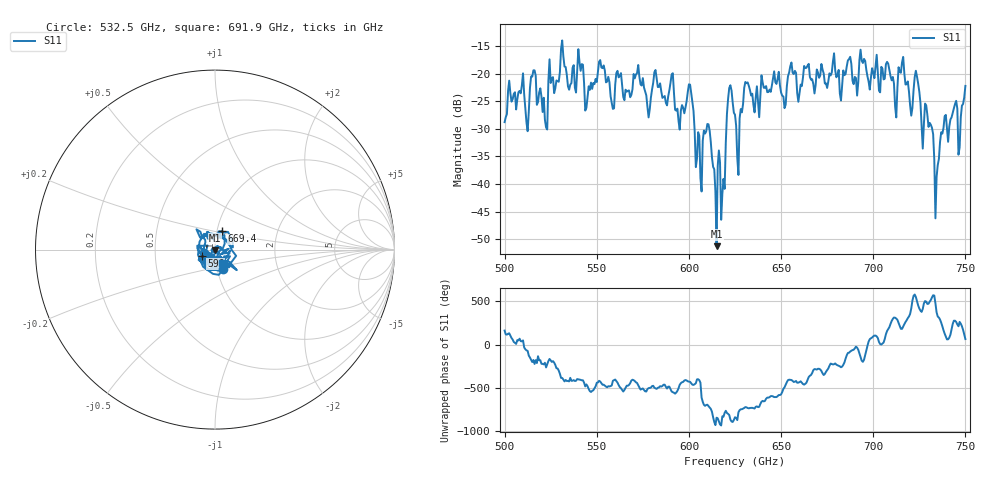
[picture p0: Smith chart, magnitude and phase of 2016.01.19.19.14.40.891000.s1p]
!Created with skrf (http://scikit-rf.org).
# GHz S RI R 50.0
!freq ReS11 ImS11
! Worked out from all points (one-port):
!   401 points, 500 GHz to 750 GHz, reference 50 ohm
!   lowest |S11| = -51.2 dB at 615 GHz (marker M1), VSWR 1.01, Z = 49.8 - j0.216 ohm
!   |S11| at or under -10 dB: start of sweep to end of sweep
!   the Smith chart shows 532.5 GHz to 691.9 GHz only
!   S11 on the Smith chart (normalised r, x): 532.5 GHz: 1.07, -0.23; 590 GHz: 0.86, -0.06; 669.4 GHz: 1.05, +0.22; 691.9 GHz: 1.07, -0.16
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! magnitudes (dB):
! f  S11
! 500 GHz  -28.8
! 508.8 GHz  -23.6
! 512.5 GHz  -30.4
! 515.6 GHz  -19.4
! 521.9 GHz  -28.4
! 531.2 GHz  -14.0
! 532.5 GHz  -18.7
! 545 GHz  -24.2
! 562.5 GHz  -20.4
! 590 GHz  -21.7
! 593.8 GHz  -26.3
! 600.6 GHz  -22.0
! 605.6 GHz  -31.2
! 610.6 GHz  -29.2
! 615 GHz  -51.2
! 618.8 GHz  -39.1
! 621.9 GHz  -22.6
! 625 GHz  -27.4
! 631.2 GHz  -21.7
! 656.2 GHz  -19.8
! 669.4 GHz  -19.2
! 687.5 GHz  -16.9
! 691.9 GHz  -21.6
! 718.8 GHz  -21.4
! 723.8 GHz  -20.5
! 734.4 GHz  -38.7
! 738.1 GHz  -29.8
! 750 GHz  -22.2
